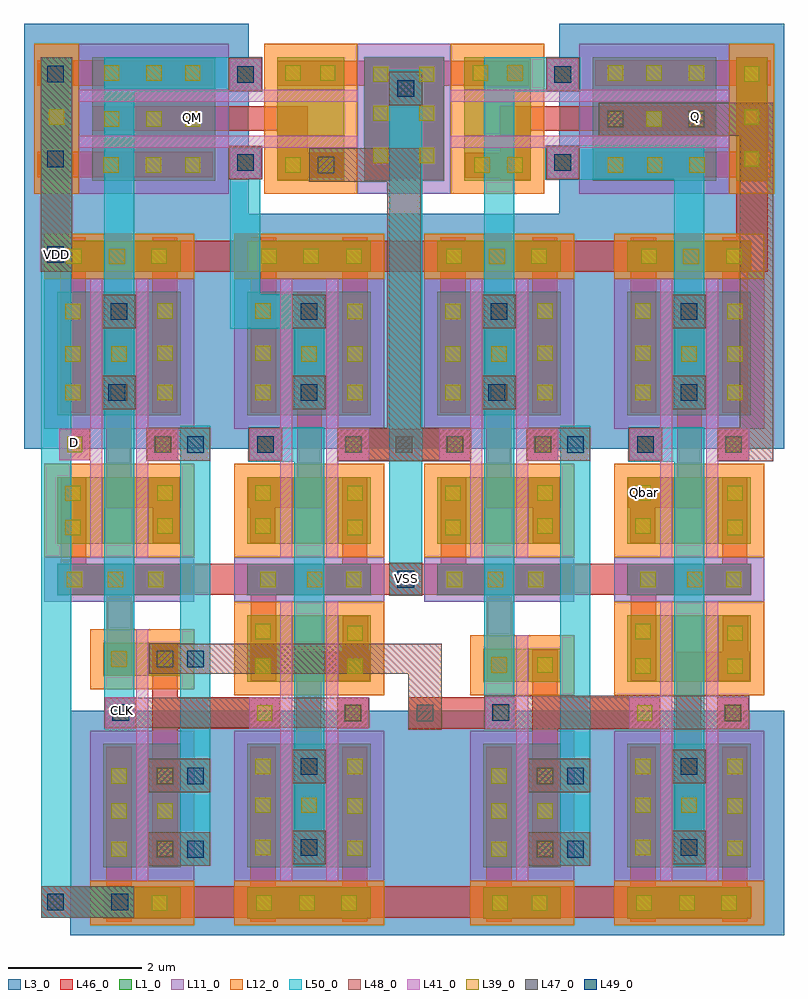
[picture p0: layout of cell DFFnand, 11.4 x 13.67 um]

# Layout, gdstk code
import gdstk
lib = gdstk.Library(unit=1e-6, precision=1e-09)
def R(c, l, rs):  # rectangles x0, y0, x1, y1
    for r in rs: c.add(gdstk.rectangle(r[:2], r[2:], *l))
def A(c, l, x, y, w, h, nx, ny, dx, dy):  # array of equal rectangles
    R(c, l, [(x+i*dx, y+j*dy, x+i*dx+w, y+j*dy+h) for i in range(nx) for j in range(ny)])
L1_0 = (1, 0)
L3_0 = (3, 0)
L11_0 = (11, 0)
L12_0 = (12, 0)
L39_0 = (39, 0)
L41_0 = (41, 0)
L46_0 = (46, 0)
L47_0 = (47, 0)
L48_0 = (48, 0)
L49_0 = (49, 0)
L50_0 = (50, 0)

dffnand = lib.new_cell('DFFnand')
A(dffnand, L1_0, -64.66, -16.005, 1.85, 0.47, 4, 2, 2.85, 4.85)
A(dffnand, L1_0, -64.66, -15.235, 1.85, 1, 4, 1, 2.85, 0)
A(dffnand, L1_0, -64.66, -13.305, 1.85, 1.85, 4, 1, 2.85, 0)
R(dffnand, L1_0, [(-63.97,-20.855,-62.81,-20.385), (-61.81,-20.855,-59.96,-20.385), (-58.27,-20.855,-57.11,-20.385), (-56.11,-20.855,-54.26,-20.385), (-63.97,-20.085,-62.81,-18.235), (-61.81,-20.085,-59.96,-18.235), (-58.27,-20.085,-57.11,-18.235), (-56.11,-20.085,-54.26,-18.235), (-61.81,-17.305,-59.96,-16.305), (-58.27,-17.305,-57.11,-16.805), (-56.11,-17.305,-54.26,-16.305), (-63.97,-17.215,-62.81,-16.715), (-64.91,-9.785,-64.44,-7.935), (-64.14,-9.785,-62.29,-7.935), (-61.36,-9.785,-60.36,-7.935), (-60.06,-9.785,-58.86,-7.935), (-58.56,-9.785,-57.56,-7.935), (-56.63,-9.785,-54.78,-7.935), (-54.48,-9.785,-54.01,-7.935)])
R(dffnand, L3_0, [(-64.47,-21.105,-62.31,-17.735), (-62.31,-21.105,-59.11,-17.735), (-59.195,-21.105,-56.61,-17.735), (-56.61,-21.105,-53.76,-17.735), (-65.16,-13.805,-62.31,-10.285), (-62.31,-13.805,-59.46,-10.285), (-59.46,-13.805,-56.595,-10.285), (-56.63,-13.805,-53.76,-10.285), (-65.16,-10.285,-61.79,-7.435), (-57.13,-10.285,-53.76,-7.435)])
A(dffnand, L11_0, -64.86, -16.105, 2.25, 0.67, 4, 1, 2.85, 0)
A(dffnand, L11_0, -64.86, -13.505, 2.25, 2.25, 4, 1, 2.85, 0)
R(dffnand, L11_0, [(-64.17,-20.285,-62.61,-18.035), (-62.01,-20.285,-59.76,-18.035), (-58.47,-20.285,-56.91,-18.035), (-56.31,-20.285,-54.06,-18.035), (-64.34,-9.985,-62.09,-7.735), (-60.16,-9.985,-58.76,-7.735), (-56.83,-9.985,-54.58,-7.735)])
A(dffnand, L12_0, -64.86, -15.435, 2.25, 1.4, 4, 1, 2.85, 0)
A(dffnand, L12_0, -64.86, -11.255, 2.25, 0.67, 4, 1, 2.85, 0)
R(dffnand, L12_0, [(-64.17,-20.955,-62.61,-20.285), (-62.01,-20.955,-59.76,-20.285), (-58.47,-20.955,-56.91,-20.285), (-56.31,-20.955,-54.06,-20.285), (-62.01,-17.505,-59.76,-16.105), (-58.47,-17.505,-56.91,-16.605), (-56.31,-17.505,-54.06,-16.105), (-64.17,-17.415,-62.61,-16.515), (-65.01,-9.985,-64.34,-7.735), (-61.56,-9.985,-60.16,-7.735), (-58.76,-9.985,-57.36,-7.735), (-54.58,-9.985,-53.91,-7.735)])
A(dffnand, L39_0, -61.69, -18.69, 0.23, 0.23, 3, 2, 0.69, 5.61)
A(dffnand, L39_0, -55.99, -18.69, 0.23, 0.23, 3, 2, 0.69, 5.61)
A(dffnand, L39_0, -64.54, -13.08, 0.23, 0.23, 3, 1, 0.69, 0)
A(dffnand, L39_0, -58.84, -13.08, 0.23, 0.23, 3, 1, 0.69, 0)
A(dffnand, L39_0, -62.745, -9.665, 0.23, 0.23, 1, 3, 0, 0.69)
A(dffnand, L39_0, -56.405, -9.665, 0.23, 0.23, 1, 3, 0, 0.69)
R(dffnand, L39_0, [(-63.835,-20.735,-63.605,-20.505), (-63.245,-20.735,-63.015,-20.505), (-61.675,-20.735,-61.445,-20.505), (-61.03,-20.735,-60.8,-20.505), (-60.4,-20.735,-60.17,-20.505), (-58.135,-20.735,-57.905,-20.505), (-57.545,-20.735,-57.315,-20.505), (-55.975,-20.735,-55.745,-20.505), (-55.33,-20.735,-55.1,-20.505), (-54.7,-20.735,-54.47,-20.505), (-63.85,-19.93,-63.62,-19.7), (-63.16,-19.93,-62.93,-19.7), (-58.15,-19.93,-57.92,-19.7), (-57.46,-19.93,-57.23,-19.7), (-60.31,-19.915,-60.08,-19.685), (-54.61,-19.915,-54.38,-19.685), (-61.69,-19.905,-61.46,-19.675), (-61,-19.905,-60.77,-19.675), (-55.99,-19.905,-55.76,-19.675), (-55.3,-19.905,-55.07,-19.675), (-63.85,-19.355,-63.62,-19.125), (-63.16,-19.355,-62.93,-19.125), (-58.15,-19.355,-57.92,-19.125), (-57.46,-19.355,-57.23,-19.125), (-60.31,-19.28,-60.08,-19.05), (-54.61,-19.28,-54.38,-19.05), (-61.69,-19.27,-61.46,-19.04), (-61,-19.27,-60.77,-19.04), (-55.99,-19.27,-55.76,-19.04), (-55.3,-19.27,-55.07,-19.04), (-63.85,-18.83,-63.62,-18.6), (-63.16,-18.83,-62.93,-18.6), (-58.15,-18.83,-57.92,-18.6), (-57.46,-18.83,-57.23,-18.6), (-63.825,-17.885,-63.595,-17.655), (-61.665,-17.885,-61.435,-17.655), (-60.345,-17.885,-60.115,-17.655), (-58.125,-17.885,-57.895,-17.655), (-55.965,-17.885,-55.735,-17.655), (-54.645,-17.885,-54.415,-17.655), (-60.31,-17.185,-60.08,-16.955), (-54.61,-17.185,-54.38,-16.955), (-61.69,-17.18,-61.46,-16.95), (-55.99,-17.18,-55.76,-16.95), (-58.15,-17.165,-57.92,-16.935), (-57.46,-17.165,-57.23,-16.935), (-63.85,-17.075,-63.62,-16.845), (-63.16,-17.075,-62.93,-16.845), (-60.31,-16.69,-60.08,-16.46), (-54.61,-16.69,-54.38,-16.46), (-61.69,-16.665,-61.46,-16.435), (-55.99,-16.665,-55.76,-16.435), (-64.52,-15.885,-64.29,-15.655), (-63.905,-15.885,-63.675,-15.655), (-63.3,-15.885,-63.07,-15.655), (-61.615,-15.885,-61.385,-15.655), (-60.915,-15.885,-60.685,-15.655), (-60.33,-15.885,-60.1,-15.655), (-58.82,-15.885,-58.59,-15.655), (-58.205,-15.885,-57.975,-15.655), (-57.6,-15.885,-57.37,-15.655), (-55.915,-15.885,-55.685,-15.655), (-55.215,-15.885,-54.985,-15.655), (-54.63,-15.885,-54.4,-15.655), (-64.54,-15.105,-64.31,-14.875), (-60.31,-15.105,-60.08,-14.875), (-58.84,-15.105,-58.61,-14.875), (-54.61,-15.105,-54.38,-14.875), (-63.16,-15.08,-62.93,-14.85), (-61.69,-15.08,-61.46,-14.85), (-57.46,-15.08,-57.23,-14.85), (-55.99,-15.08,-55.76,-14.85), (-64.54,-14.59,-64.31,-14.36), (-60.31,-14.59,-60.08,-14.36), (-58.84,-14.59,-58.61,-14.36), (-54.61,-14.59,-54.38,-14.36), (-63.16,-14.585,-62.93,-14.355), (-61.69,-14.585,-61.46,-14.355), (-57.46,-14.585,-57.23,-14.355), (-55.99,-14.585,-55.76,-14.355), (-64.515,-13.86,-64.285,-13.63), (-63.195,-13.86,-62.965,-13.63), (-61.655,-13.86,-61.425,-13.63), (-60.335,-13.86,-60.105,-13.63), (-58.815,-13.86,-58.585,-13.63), (-57.495,-13.86,-57.265,-13.63), (-55.955,-13.86,-55.725,-13.63), (-54.635,-13.86,-54.405,-13.63), (-64.54,-12.5,-64.31,-12.27), (-63.85,-12.5,-63.62,-12.27), (-61,-12.5,-60.77,-12.27), (-60.31,-12.5,-60.08,-12.27), (-58.84,-12.5,-58.61,-12.27), (-58.15,-12.5,-57.92,-12.27), (-55.3,-12.5,-55.07,-12.27), (-54.61,-12.5,-54.38,-12.27), (-63.16,-12.49,-62.93,-12.26), (-61.69,-12.49,-61.46,-12.26), (-57.46,-12.49,-57.23,-12.26), (-55.99,-12.49,-55.76,-12.26), (-64.54,-11.865,-64.31,-11.635), (-63.85,-11.865,-63.62,-11.635), (-61,-11.865,-60.77,-11.635), (-60.31,-11.865,-60.08,-11.635), (-58.84,-11.865,-58.61,-11.635), (-58.15,-11.865,-57.92,-11.635), (-55.3,-11.865,-55.07,-11.635), (-54.61,-11.865,-54.38,-11.635), (-63.16,-11.855,-62.93,-11.625), (-61.69,-11.855,-61.46,-11.625), (-57.46,-11.855,-57.23,-11.625), (-55.99,-11.855,-55.76,-11.625), (-64.525,-11.035,-64.295,-10.805), (-63.88,-11.035,-63.65,-10.805), (-63.25,-11.035,-63.02,-10.805), (-61.6,-11.035,-61.37,-10.805), (-60.97,-11.035,-60.74,-10.805), (-60.325,-11.035,-60.095,-10.805), (-58.825,-11.035,-58.595,-10.805), (-58.18,-11.035,-57.95,-10.805), (-57.55,-11.035,-57.32,-10.805), (-55.9,-11.035,-55.67,-10.805), (-55.27,-11.035,-55.04,-10.805), (-54.625,-11.035,-54.395,-10.805), (-63.97,-9.665,-63.74,-9.435), (-63.335,-9.665,-63.105,-9.435), (-61.24,-9.665,-61.01,-9.435), (-60.745,-9.665,-60.515,-9.435), (-58.405,-9.665,-58.175,-9.435), (-57.91,-9.665,-57.68,-9.435), (-55.815,-9.665,-55.585,-9.435), (-55.18,-9.665,-54.95,-9.435), (-61.955,-9.63,-61.725,-9.4), (-57.195,-9.63,-56.965,-9.4), (-64.79,-9.575,-64.56,-9.345), (-54.36,-9.575,-54.13,-9.345), (-59.925,-9.525,-59.695,-9.295), (-59.235,-9.525,-59.005,-9.295), (-63.96,-8.975,-63.73,-8.745), (-63.325,-8.975,-63.095,-8.745), (-55.825,-8.975,-55.595,-8.745), (-55.19,-8.975,-54.96,-8.745), (-64.79,-8.945,-64.56,-8.715), (-54.36,-8.945,-54.13,-8.715), (-59.925,-8.89,-59.695,-8.66), (-59.235,-8.89,-59.005,-8.66), (-61.955,-8.31,-61.725,-8.08), (-57.195,-8.31,-56.965,-8.08), (-59.925,-8.305,-59.695,-8.075), (-59.235,-8.305,-59.005,-8.075), (-64.79,-8.3,-64.56,-8.07), (-54.36,-8.3,-54.13,-8.07), (-63.96,-8.285,-63.73,-8.055), (-63.325,-8.285,-63.095,-8.055), (-61.24,-8.285,-61.01,-8.055), (-60.72,-8.285,-60.49,-8.055), (-58.43,-8.285,-58.2,-8.055), (-57.91,-8.285,-57.68,-8.055), (-55.825,-8.285,-55.595,-8.055), (-55.19,-8.285,-54.96,-8.055)])
R(dffnand, L41_0, [(-63.48,-20.285,-63.3,-16.515), (-61.32,-20.285,-61.14,-16.105), (-60.63,-20.285,-60.45,-16.105), (-57.78,-20.285,-57.6,-16.605), (-55.62,-20.285,-55.44,-16.105), (-54.93,-20.285,-54.75,-16.105), (-63.945,-18.005,-63.475,-17.535), (-61.785,-18.005,-61.315,-17.535), (-60.465,-18.005,-59.995,-17.535), (-58.245,-18.005,-57.775,-17.535), (-56.085,-18.005,-55.615,-17.535), (-54.765,-18.005,-54.295,-17.535), (-64.17,-15.435,-63.99,-11.255), (-63.48,-15.435,-63.3,-11.255), (-61.32,-15.435,-61.14,-11.255), (-60.63,-15.435,-60.45,-11.255), (-58.47,-15.435,-58.29,-11.255), (-57.78,-15.435,-57.6,-11.255), (-55.62,-15.435,-55.44,-11.255), (-54.93,-15.435,-54.75,-11.255), (-64.635,-13.98,-64.165,-13.51), (-63.315,-13.98,-62.845,-13.51), (-61.775,-13.98,-61.305,-13.51), (-60.455,-13.98,-59.985,-13.51), (-58.935,-13.98,-58.465,-13.51), (-57.615,-13.98,-57.145,-13.51), (-56.075,-13.98,-55.605,-13.51), (-54.755,-13.98,-54.285,-13.51), (-62.075,-9.75,-61.605,-9.28), (-57.315,-9.75,-56.845,-9.28), (-64.34,-9.295,-60.16,-9.115), (-58.76,-9.295,-54.58,-9.115), (-64.34,-8.605,-60.16,-8.425), (-58.76,-8.605,-54.58,-8.425), (-62.075,-8.43,-61.605,-7.96), (-57.315,-8.43,-56.845,-7.96)])
R(dffnand, L46_0, [(-63.925,-20.905,-63.545,-18.275), (-61.765,-20.905,-61.385,-18.275), (-60.39,-20.905,-60.01,-18.275), (-58.225,-20.905,-57.845,-18.275), (-56.065,-20.905,-55.685,-18.275), (-54.69,-20.905,-54.31,-18.275), (-64.9,-20.84,-54.255,-20.37), (-63.235,-20.085,-62.855,-16.735), (-61.075,-20.085,-60.705,-16.85), (-57.535,-20.085,-57.155,-16.825), (-55.375,-20.085,-55.005,-16.85), (-63.945,-18.005,-63.475,-17.535), (-63.235,-18.005,-61.315,-17.535), (-60.465,-18.005,-59.995,-17.535), (-59.395,-18.005,-57.775,-17.535), (-57.535,-18.005,-55.615,-17.535), (-54.765,-18.005,-54.295,-17.535), (-60.455,-17.995,-60.005,-17.545), (-54.755,-17.995,-54.305,-17.545), (-61.76,-17.295,-61.38,-15.54), (-58.22,-17.295,-57.84,-15.555), (-56.06,-17.295,-55.68,-15.54), (-61.075,-17.29,-59.97,-16.85), (-60.38,-17.29,-60,-16.32), (-55.375,-17.29,-54.27,-16.85), (-54.68,-17.29,-54.3,-16.32), (-63.92,-17.205,-63.54,-15.555), (-64.65,-16,-54.255,-15.53), (-64.61,-16,-64.23,-14.235), (-60.39,-16,-60.01,-14.235), (-58.91,-16,-58.53,-14.235), (-54.69,-16,-54.31,-14.235), (-63.23,-15.22,-62.825,-14.235), (-61.77,-15.22,-61.39,-14.235), (-57.53,-15.22,-57.125,-14.235), (-56.07,-15.22,-55.69,-14.235), (-63.925,-14.69,-62.82,-14.235), (-63.925,-14.69,-63.555,-11.455), (-61.8,-14.69,-60.695,-14.235), (-61.065,-14.69,-60.695,-11.455), (-58.225,-14.69,-57.12,-14.235), (-58.225,-14.69,-57.855,-11.455), (-56.1,-14.69,-54.995,-14.235), (-55.365,-14.69,-54.995,-11.455), (-64.635,-13.98,-64.165,-13.51), (-63.315,-13.98,-62.845,-13.51), (-61.775,-13.98,-61.305,-13.51), (-60.455,-13.98,-59.985,-13.51), (-60.425,-13.98,-58.465,-13.51), (-58.935,-13.98,-58.465,-13.51), (-57.615,-13.98,-57.145,-13.51), (-56.075,-13.98,-55.605,-13.51), (-54.755,-13.98,-54.285,-13.51), (-63.305,-13.97,-62.855,-13.52), (-61.765,-13.97,-61.315,-13.52), (-60.445,-13.97,-59.995,-13.52), (-57.605,-13.97,-57.155,-13.52), (-56.065,-13.97,-55.615,-13.52), (-54.745,-13.97,-54.295,-13.52), (-64.615,-13.265,-64.235,-10.635), (-63.24,-13.265,-62.86,-10.635), (-61.76,-13.265,-61.38,-10.635), (-60.385,-13.265,-60.005,-10.635), (-58.915,-13.265,-58.535,-10.635), (-57.54,-13.265,-57.16,-10.635), (-56.06,-13.265,-55.68,-10.635), (-54.685,-13.265,-54.305,-10.635), (-64.91,-11.155,-54.05,-10.685), (-54.475,-11.155,-54.005,-7.935), (-64.91,-11.13,-64.44,-7.935), (-61.36,-9.775,-60.905,-8.67), (-60.06,-9.775,-58.865,-7.935), (-58.015,-9.775,-57.56,-8.67), (-62.075,-9.75,-61.605,-9.28), (-57.315,-9.75,-56.845,-9.28), (-61.36,-9.745,-60.375,-9.365), (-58.545,-9.745,-57.56,-9.365), (-62.065,-9.74,-61.615,-9.29), (-57.305,-9.74,-56.855,-9.29), (-64.96,-9.735,-62.33,-9.355), (-56.59,-9.735,-53.96,-9.355), (-64.14,-9.04,-60.905,-8.67), (-58.015,-9.04,-54.78,-8.67), (-62.075,-8.43,-61.605,-7.96), (-57.315,-8.43,-56.845,-7.96), (-62.065,-8.42,-61.615,-7.97), (-57.305,-8.42,-56.855,-7.97), (-61.36,-8.365,-57.59,-7.985), (-64.96,-8.36,-62.33,-7.98), (-56.59,-8.36,-53.96,-7.98)])
A(dffnand, L47_0, -60.345, -13.87, 0.25, 0.25, 3, 1, 0.76, 0)
A(dffnand, L47_0, -63.86, -13.09, 0.25, 0.25, 4, 2, 2.85, 1.215)
R(dffnand, L47_0, [(-64.815,-20.73,-64.565,-20.48), (-63.85,-20.73,-63.6,-20.48), (-63.17,-19.94,-62.92,-19.69), (-57.47,-19.94,-57.22,-19.69), (-61.01,-19.915,-60.76,-19.665), (-55.31,-19.915,-55.06,-19.665), (-63.17,-18.84,-62.92,-18.59), (-57.47,-18.84,-57.22,-18.59), (-61.01,-18.7,-60.76,-18.45), (-55.31,-18.7,-55.06,-18.45), (-60.355,-17.895,-60.105,-17.645), (-59.27,-17.895,-59.02,-17.645), (-54.655,-17.895,-54.405,-17.645), (-63.17,-17.085,-62.92,-16.835), (-59.56,-15.89,-59.31,-15.64), (-63.205,-13.87,-62.955,-13.62), (-61.665,-13.87,-61.415,-13.62), (-57.505,-13.87,-57.255,-13.62), (-55.965,-13.87,-55.715,-13.62), (-54.645,-13.87,-54.395,-13.62), (-64.815,-11.02,-64.565,-10.77), (-60.755,-9.675,-60.505,-9.425), (-61.965,-9.64,-61.715,-9.39), (-61.965,-9.64,-61.715,-9.39), (-57.205,-9.64,-56.955,-9.39), (-57.205,-9.64,-56.955,-9.39), (-64.815,-9.585,-64.565,-9.335), (-56.415,-8.99,-56.165,-8.74), (-55.2,-8.99,-54.95,-8.74), (-59.56,-8.53,-59.31,-8.28), (-61.965,-8.32,-61.715,-8.07), (-61.965,-8.32,-61.715,-8.07), (-57.205,-8.32,-56.955,-8.07), (-57.205,-8.32,-56.955,-8.07), (-64.815,-8.31,-64.565,-8.06)])
A(dffnand, L48_0, -63.985, -13.215, 0.5, 0.5, 4, 2, 2.85, 1.215)
R(dffnand, L48_0, [(-64.9,-20.84,-63.51,-20.37), (-63.3,-20.06,-62.365,-19.56), (-57.6,-20.06,-56.665,-19.56), (-61.135,-20.04,-60.635,-19.54), (-55.435,-20.04,-54.935,-19.54), (-63.3,-18.96,-62.365,-18.46), (-57.6,-18.96,-56.665,-18.46), (-61.135,-18.825,-60.635,-18.325), (-55.435,-18.825,-54.935,-18.325), (-59.395,-18.02,-58.895,-16.735), (-58.26,-18.015,-54.285,-17.515), (-63.96,-17.99,-59.985,-17.54), (-63.28,-17.185,-58.895,-16.735), (-59.685,-16.015,-59.185,-15.515), (-60.465,-13.995,-58.45,-13.495), (-59.71,-13.995,-59.21,-9.3), (-54.765,-13.995,-53.93,-13.495), (-54.425,-13.995,-53.925,-8.615), (-63.33,-13.99,-62.365,-13.49), (-61.79,-13.99,-61.29,-13.49), (-57.63,-13.99,-56.665,-13.49), (-56.09,-13.99,-55.59,-13.49), (-64.91,-11.15,-64.44,-7.935), (-60.88,-9.8,-59.21,-9.3), (-62.09,-9.765,-61.59,-9.265), (-57.33,-9.765,-56.83,-9.265), (-56.54,-9.115,-53.945,-8.615), (-55.325,-9.115,-54.825,-8.615), (-59.685,-8.655,-59.185,-8.155), (-62.09,-8.445,-61.59,-7.945), (-57.33,-8.445,-56.83,-7.945)])
A(dffnand, L49_0, -63.86, -11.875, 0.25, 0.25, 4, 1, 2.85, 0)
R(dffnand, L49_0, [(-64.815,-20.73,-64.565,-20.48), (-63.85,-20.73,-63.6,-20.48), (-62.715,-19.94,-62.465,-19.69), (-57.015,-19.94,-56.765,-19.69), (-61.01,-19.915,-60.76,-19.665), (-55.31,-19.915,-55.06,-19.665), (-62.715,-18.84,-62.465,-18.59), (-57.015,-18.84,-56.765,-18.59), (-61.01,-18.7,-60.76,-18.45), (-55.31,-18.7,-55.06,-18.45), (-63.835,-17.89,-63.585,-17.64), (-58.135,-17.89,-57.885,-17.64), (-62.715,-17.085,-62.465,-16.835), (-59.56,-15.89,-59.31,-15.64), (-62.715,-13.87,-62.465,-13.62), (-61.665,-13.87,-61.415,-13.62), (-57.015,-13.87,-56.765,-13.62), (-55.965,-13.87,-55.715,-13.62), (-63.895,-13.09,-63.645,-12.84), (-61.01,-13.09,-60.76,-12.84), (-58.195,-13.09,-57.945,-12.84), (-55.31,-13.09,-55.06,-12.84), (-64.815,-11.02,-64.565,-10.77), (-61.965,-9.64,-61.715,-9.39), (-57.205,-9.64,-56.955,-9.39), (-64.815,-9.585,-64.565,-9.335), (-59.56,-8.53,-59.31,-8.28), (-61.965,-8.32,-61.715,-8.07), (-57.205,-8.32,-56.955,-8.07), (-64.815,-8.31,-64.565,-8.06)])
R(dffnand, L50_0, [(-64.9,-20.84,-63.51,-20.37), (-64.9,-20.835,-64.45,-7.94), (-62.815,-20.06,-62.365,-13.465), (-61.11,-20.06,-60.66,-13.49), (-57.115,-20.06,-56.665,-13.465), (-55.41,-20.06,-54.96,-13.49), (-63.96,-18.015,-63.51,-7.94), (-58.26,-18.015,-57.81,-7.94), (-59.685,-16.015,-59.185,-8.125), (-61.8,-14,-60.66,-13.485), (-56.1,-14,-54.96,-13.485), (-61.11,-13.215,-60.66,-11.493), (-55.41,-13.215,-54.96,-9.288), (-62.065,-12.008,-60.66,-11.493), (-62.065,-11.995,-61.615,-9.295), (-57.34,-9.773,-54.96,-9.258), (-63.96,-8.453,-61.585,-7.938), (-58.24,-8.453,-56.82,-7.938)])
dffnand.add(gdstk.Label('VSS', (-59.42,-15.76), layer=101, texttype=0))
dffnand.add(gdstk.Label('VDD', (-64.68,-10.9), layer=101, texttype=0))
dffnand.add(gdstk.Label('Qbar', (-55.86,-14.47), layer=101, texttype=0))
dffnand.add(gdstk.Label('QM', (-62.63,-8.845), layer=101, texttype=0))
dffnand.add(gdstk.Label('Q', (-55.095,-8.82), layer=101, texttype=0))
dffnand.add(gdstk.Label('CLK', (-63.685,-17.74), layer=101, texttype=0))
dffnand.add(gdstk.Label('D', (-64.4,-13.72), layer=101, texttype=0))

lib.write_gds('DFFnand.gds')
